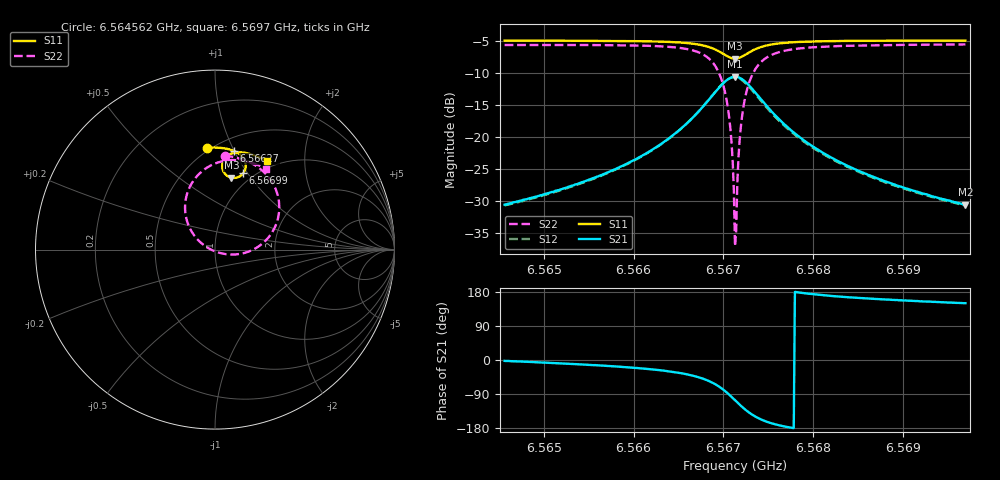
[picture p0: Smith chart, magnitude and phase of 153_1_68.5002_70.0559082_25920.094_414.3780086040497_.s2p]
#  HZ  S  RI  R  50.00
! Rohde & Schwarz Vector Network Analyzer
! Rohde-Schwarz,ZNB20-2Port,1311601062101988,3.16
! Created: UTC 3/20/2024, 5:10:36 PM
! freq[Hz]  re:S11  im:S11  re:S21  im:S21  re:S12  im:S12  re:S22  im:S22
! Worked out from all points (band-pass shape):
!   401 points, 6.564562 GHz to 6.5697 GHz, reference 50 ohm
!   highest |S21| = -10.56 dB at 6.567131 GHz (marker M1); lowest = -30.6 dB at 6.5697 GHz (marker M2)
!   |S21| within 3 dB of the highest: 6.566875 GHz to 6.567389 GHz (514.5 kHz wide, 0.00783 % of centre)
!   lowest |S11| = -7.7 dB at 6.567131 GHz (marker M3), VSWR 2.40, Z = 42.1 + j40.6 ohm
!   |S11| at or under -10 dB: nowhere
!   |S22| runs from -37.1 to -5.5 dB; largest |S21 - S12| = 0.015
!   S11 on the Smith chart (normalised r, x): 6.564562 GHz: 0.48, +0.80; 6.56627 GHz: 0.62, +1.00; 6.56699 GHz: 0.89, +0.95; 6.5697 GHz: 0.90, +1.31
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6.5645621e9  -0.047 0.5671  0.0296 -0.00122  0.0291 -0.00172  0.0535 0.5232
6.5654227e9  0.0244 0.5672  0.0434 -0.00904  0.0426 -0.00965  0.1376 0.5075
6.5662704e9  0.1057 0.5496  0.0762 -0.0376  0.075 -0.0386  0.2554 0.4472
6.5662832e9  0.1072 0.5491  0.077 -0.0386  0.0759 -0.0395  0.2579 0.4452
6.5665787e9  0.1425 0.527  0.0999 -0.0754  0.0984 -0.0768  0.3199 0.3727
6.5667842e9  0.1665 0.4926  0.1132 -0.1355  0.1104 -0.1384  0.3571 0.2569
6.5668998e9  0.1707 0.4585  0.1019 -0.1956  0.0967 -0.1992  0.3412 0.1429
6.5669897e9  0.1572 0.4251  0.0615 -0.2523  0.0527 -0.2555  0.2675 0.0366
6.5670282e9  0.1441 0.4123  0.0309 -0.2733  0.0201 -0.2752  0.2104 -0.00107
6.5670667e9  0.1264 0.4029  -0.00795 -0.2874  -0.0203 -0.2867  0.1391 -0.024
6.5670924e9  0.1127 0.3998  -0.0372 -0.2908  -0.0501 -0.2882  0.0864 -0.0275
6.5671181e9  0.0982 0.3997  -0.0672 -0.2886  -0.0801 -0.2833  0.0328 -0.0201
6.567131e9  0.0909 0.4009  -0.082 -0.285  -0.0948 -0.2788  0.00664 -0.0123
6.5671566e9  0.0773 0.4057  -0.1104 -0.2739  -0.122 -0.2655  -0.0419 0.0109
6.5671823e9  0.065 0.4131  -0.1356 -0.2575  -0.1455 -0.2475  -0.084 0.043
6.5672209e9  0.051 0.4282  -0.1649 -0.2268  -0.1719 -0.2149  -0.1306 0.1012
6.5672722e9  0.0413 0.4513  -0.187 -0.1812  -0.1904 -0.169  -0.1621 0.184
6.5673365e9  0.041 0.4782  -0.1932 -0.1289  -0.1929 -0.1182  -0.1636 0.2759
6.5675677e9  0.0788 0.5293  -0.1481 -0.0288  -0.1449 -0.0242  -0.0624 0.4441
6.5679915e9  0.142 0.5423  -0.0846 0.0092  -0.0826 0.0105  0.0785 0.4982
6.5688521e9  0.2246 0.5229  -0.0411 0.0157  -0.0401 0.016  0.2097 0.4819
6.5696998e9  0.2881 0.4928  -0.0256 0.0148  -0.025 0.015  0.2868 0.4476
